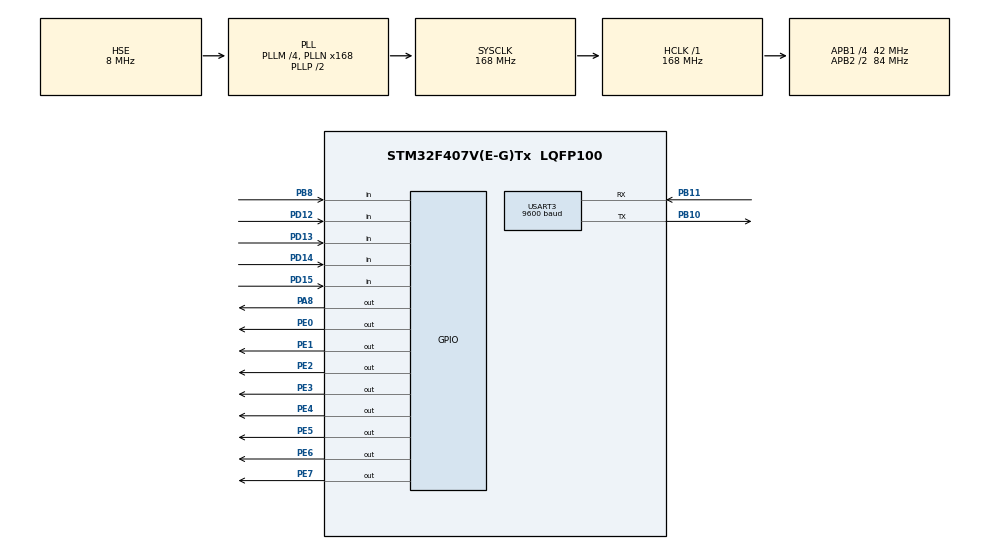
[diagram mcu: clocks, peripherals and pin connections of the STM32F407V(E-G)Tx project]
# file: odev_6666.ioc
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Mcu.Family=STM32F4
Mcu.Name=STM32F407V(E-G)Tx
Mcu.Package=LQFP100
NVIC.PriorityGroup=NVIC_PRIORITYGROUP_4
NVIC.USART3_IRQn=true\:0\:0\:false\:false\:true\:true\:true\:true
PA13.Mode=Serial_Wire
PA13.Signal=SYS_JTMS-SWDIO
PA14.Mode=Serial_Wire
PA14.Signal=SYS_JTCK-SWCLK
PA8.Signal=GPIO_Output
PB10.Mode=Asynchronous
PB10.Signal=USART3_TX
PB11.Mode=Asynchronous
PB11.Signal=USART3_RX
PB8.Signal=GPIO_Input
PD12.Signal=GPIO_Input
PD13.Signal=GPIO_Input
PD14.Signal=GPIO_Input
PD15.Signal=GPIO_Input
PE0.Signal=GPIO_Output
PE1.Signal=GPIO_Output
PE2.Signal=GPIO_Output
PE3.Signal=GPIO_Output
PE4.Signal=GPIO_Output
PE5.Signal=GPIO_Output
PE6.Signal=GPIO_Output
PE7.Signal=GPIO_Output
PH0-OSC_IN.Mode=HSE-External-Oscillator
PH0-OSC_IN.Signal=RCC_OSC_IN
PH1-OSC_OUT.Mode=HSE-External-Oscillator
PH1-OSC_OUT.Signal=RCC_OSC_OUT
ProjectManager.HeapSize=0x200
ProjectManager.StackSize=0x400
ProjectManager.TargetToolchain=STM32CubeIDE
RCC.48MHZClocksFreq_Value=84000000
RCC.AHBFreq_Value=168000000
RCC.APB1CLKDivider=RCC_HCLK_DIV4
RCC.APB1Freq_Value=42000000
RCC.APB1TimFreq_Value=84000000
RCC.APB2CLKDivider=RCC_HCLK_DIV2
RCC.APB2Freq_Value=84000000
RCC.APB2TimFreq_Value=168000000
RCC.CortexFreq_Value=168000000
RCC.HCLKFreq_Value=168000000
RCC.HSE_VALUE=8000000
RCC.HSI_VALUE=16000000
RCC.LSE_VALUE=32768
RCC.PLLM=4
RCC.PLLN=168
RCC.PLLSourceVirtual=RCC_PLLSOURCE_HSE
RCC.SYSCLKFreq_VALUE=168000000
RCC.SYSCLKSource=RCC_SYSCLKSOURCE_PLLCLK
RCC.VCOOutputFreq_Value=336000000
USART3.BaudRate=9600
USART3.Mode=MODE_TX_RX
USART3.VirtualMode=VM_ASYNC
board=custom

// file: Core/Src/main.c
/* USER CODE BEGIN Header */
/**
 ******************************************************************************
 * @file           : main.c
 * @brief          : Main program body
 ******************************************************************************
 * @attention
 *
 * Copyright (c) 2025 STMicroelectronics.
 * All rights reserved.
 *
 * This software is licensed under terms that can be found in the LICENSE file
 * in the root directory of this software component.
 * If no LICENSE file comes with this software, it is provided AS-IS.
 *
 ******************************************************************************
 */
/* USER CODE END Header */
#include "main.h"
#include "usart.h"
#include "gpio.h"

/* USER CODE BEGIN Includes */
#include "stdio.h"
#include "string.h"
#include "stdlib.h"

/* USER CODE END Includes */

/* USER CODE BEGIN PV */
extern UART_HandleTypeDef huart3;

#define BUFFER_LEN     10
#define LED_COUNT      5
#define BUTTON_COUNT   5
#define SEQUENCE_LEN   3

uint8_t RX_BUFFER[BUFFER_LEN] = { 0 };
uint8_t sequence[SEQUENCE_LEN];
uint8_t user_input[SEQUENCE_LEN];
uint8_t input_index = 0;
uint8_t game_running = 0;

GPIO_TypeDef *LED_PORTS[LED_COUNT] = {
GPIOE, GPIOE, GPIOE, GPIOE,
GPIOE };

uint16_t LED_PINS[LED_COUNT] = {
GPIO_PIN_0, GPIO_PIN_1, GPIO_PIN_2, GPIO_PIN_3,
GPIO_PIN_4 };

GPIO_TypeDef *BUTTON_PORTS[BUTTON_COUNT] = {
GPIOD, GPIOD, GPIOD, GPIOD, GPIOB };

uint16_t BUTTON_PINS[BUTTON_COUNT] = {
GPIO_PIN_12, GPIO_PIN_13, GPIO_PIN_14, GPIO_PIN_15, GPIO_PIN_8 };

/* USER CODE END PV */

void SystemClock_Config(void);

/* USER CODE BEGIN 0 */
void simple_delay(void) {
	for (volatile int i = 0; i < 5000000; i++)
		;
}

void generate_sequence(void) {
	for (int i = 0; i < SEQUENCE_LEN; i++) {
		sequence[i] = rand() % LED_COUNT;
	}
}

void play_sequence(void) {
	for (int i = 0; i < SEQUENCE_LEN; i++) {
		HAL_GPIO_WritePin(LED_PORTS[sequence[i]], LED_PINS[sequence[i]],
				GPIO_PIN_SET);
		simple_delay();  // 500ms yerine
		HAL_GPIO_WritePin(LED_PORTS[sequence[i]], LED_PINS[sequence[i]],
				GPIO_PIN_RESET);
		simple_delay();  // 500ms yerine

	}
}

void show_result(uint8_t success) {
	for (int j = 0; j < 3; j++) {
		for (int i = 0; i < LED_COUNT; i++) {
			HAL_GPIO_WritePin(LED_PORTS[i], LED_PINS[i],
					success ? GPIO_PIN_SET : GPIO_PIN_RESET);

		}
		HAL_Delay(200);
		for (int i = 0; i < LED_COUNT; i++) {
			HAL_GPIO_WritePin(LED_PORTS[i], LED_PINS[i],
					success ? GPIO_PIN_RESET : GPIO_PIN_SET);

		}
		HAL_Delay(200);
	}
	// Tüm LED'leri kapat
	for (int i = 0; i < LED_COUNT; i++) {
		HAL_GPIO_WritePin(GPIOE, LED_PINS[i], GPIO_PIN_RESET);
	}
}

void play_buzzer(void) {
	for (int i = 0; i < 3; i++) {
		HAL_GPIO_WritePin(GPIOA, GPIO_PIN_8, GPIO_PIN_SET);  // Buzzer ON
		HAL_Delay(150);
		HAL_GPIO_WritePin(GPIOA, GPIO_PIN_8, GPIO_PIN_RESET); // Buzzer OFF
		HAL_Delay(150);
	}
}

void check_user_input(void) {
	uint8_t success = memcmp(sequence, user_input, SEQUENCE_LEN) == 0;

	if (!success) {
		play_buzzer();  // yanlışsa buzzer çalsın
	}
	show_result(success);
	game_running = 0;

	char done_msg[] = "bitti\r\n";
	HAL_UART_Transmit(&huart3, (uint8_t*) done_msg, strlen(done_msg),
			HAL_MAX_DELAY);

}

void check_buttons(void) {
	if (!game_running)
		return;

	for (int i = 0; i < BUTTON_COUNT; i++) {
		if (HAL_GPIO_ReadPin(BUTTON_PORTS[i], BUTTON_PINS[i]) == GPIO_PIN_SET) {
			user_input[input_index++] = i;

			while (HAL_GPIO_ReadPin(BUTTON_PORTS[i], BUTTON_PINS[i])
					== GPIO_PIN_SET)
				; // basılı kalma önleme
			HAL_Delay(100); // debounce

			if (input_index == SEQUENCE_LEN) {
				check_user_input();
			}
		}
	}
}
void HAL_UART_RxCpltCallback(UART_HandleTypeDef *huart) {
	if (huart->Instance == USART3) {
		if (strstr((char*) RX_BUFFER, "start") != NULL) {
			srand(HAL_GetTick());  // her seferinde farklı dizi
			generate_sequence();
			play_sequence();
			input_index = 0;
			game_running = 1;
		}
		memset(RX_BUFFER, 0, BUFFER_LEN);
		HAL_UART_Receive_IT(&huart3, RX_BUFFER, BUFFER_LEN);
	}
}
/* USER CODE END 0 */

int main(void) {

	/* MCU Configuration--------------------------------------------------------*/

	/* Reset of all peripherals, Initializes the Flash interface and the Systick. */
	HAL_Init();

	/* Configure the system clock */
	SystemClock_Config();

	/* Initialize all configured peripherals */
	MX_GPIO_Init();
	MX_USART3_UART_Init();
	/* USER CODE BEGIN 2 */

	HAL_UART_Receive_IT(&huart3, RX_BUFFER, BUFFER_LEN);

	/* USER CODE END 2 */

	/* Infinite loop */
	/* USER CODE BEGIN WHILE */
	while (1) {
		check_buttons();

	}
	/* USER CODE END WHILE */

}

void SystemClock_Config(void) {
	RCC_OscInitTypeDef RCC_OscInitStruct = { 0 };
	RCC_ClkInitTypeDef RCC_ClkInitStruct = { 0 };

	/** Configure the main internal regulator output voltage
	 */
	__HAL_RCC_PWR_CLK_ENABLE();
	__HAL_PWR_VOLTAGESCALING_CONFIG(PWR_REGULATOR_VOLTAGE_SCALE1);

	/** Initializes the RCC Oscillators according to the specified parameters
	 * in the RCC_OscInitTypeDef structure.
	 */
	RCC_OscInitStruct.OscillatorType = RCC_OSCILLATORTYPE_HSE;
	RCC_OscInitStruct.HSEState = RCC_HSE_ON;
	RCC_OscInitStruct.PLL.PLLState = RCC_PLL_ON;
	RCC_OscInitStruct.PLL.PLLSource = RCC_PLLSOURCE_HSE;
	RCC_OscInitStruct.PLL.PLLM = 4;
	RCC_OscInitStruct.PLL.PLLN = 168;
	RCC_OscInitStruct.PLL.PLLP = RCC_PLLP_DIV2;
	RCC_OscInitStruct.PLL.PLLQ = 4;
	if (HAL_RCC_OscConfig(&RCC_OscInitStruct) != HAL_OK) {
		Error_Handler();
	}

	/** Initializes the CPU, AHB and APB buses clocks
	 */
	RCC_ClkInitStruct.ClockType = RCC_CLOCKTYPE_HCLK | RCC_CLOCKTYPE_SYSCLK
			| RCC_CLOCKTYPE_PCLK1 | RCC_CLOCKTYPE_PCLK2;
	RCC_ClkInitStruct.SYSCLKSource = RCC_SYSCLKSOURCE_PLLCLK;
	RCC_ClkInitStruct.AHBCLKDivider = RCC_SYSCLK_DIV1;
	RCC_ClkInitStruct.APB1CLKDivider = RCC_HCLK_DIV4;
	RCC_ClkInitStruct.APB2CLKDivider = RCC_HCLK_DIV2;

	if (HAL_RCC_ClockConfig(&RCC_ClkInitStruct, FLASH_LATENCY_5) != HAL_OK) {
		Error_Handler();
	}
}

void Error_Handler(void) {
	__disable_irq();
	while (1) {
	}
}
